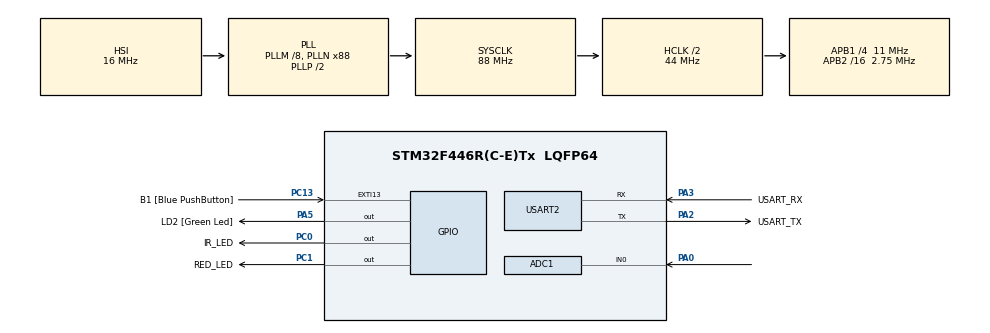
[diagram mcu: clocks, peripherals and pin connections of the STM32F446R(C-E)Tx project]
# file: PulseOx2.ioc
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ADC1.Channel-0\#ChannelRegularConversion=ADC_CHANNEL_0
ADC1.ContinuousConvMode=DISABLE
ADC1.DMAContinuousRequests=DISABLE
ADC1.ExternalTrigConv=ADC_EXTERNALTRIGCONV_T2_TRGO
ADC1.NbrOfConversion=1
ADC1.NbrOfConversionFlag=1
ADC1.Rank-0\#ChannelRegularConversion=1
ADC1.SamplingTime-0\#ChannelRegularConversion=ADC_SAMPLETIME_3CYCLES
ADC1.master=1
Mcu.Family=STM32F4
Mcu.Name=STM32F446R(C-E)Tx
Mcu.Package=LQFP64
NVIC.ADC_IRQn=true\:0\:0\:false\:false\:true\:true\:true\:true
NVIC.PriorityGroup=NVIC_PRIORITYGROUP_0
PA0-WKUP.Signal=ADCx_IN0
PA13.GPIO_Label=TMS
PA13.Mode=Serial_Wire
PA13.Signal=SYS_JTMS-SWDIO
PA14.GPIO_Label=TCK
PA14.Mode=Serial_Wire
PA14.Signal=SYS_JTCK-SWCLK
PA2.GPIO_Label=USART_TX
PA2.Mode=Asynchronous
PA2.Signal=USART2_TX
PA3.GPIO_Label=USART_RX
PA3.Mode=Asynchronous
PA3.Signal=USART2_RX
PA5.GPIO_Label=LD2 [Green Led]
PA5.Signal=GPIO_Output
PB3.GPIO_Label=SWO
PB3.Signal=SYS_JTDO-SWO
PC0.GPIO_Label=IR_LED
PC0.Signal=GPIO_Output
PC1.GPIO_Label=RED_LED
PC1.Signal=GPIO_Output
PC13.GPIO_Label=B1 [Blue PushButton]
PC13.GPIO_ModeDefaultEXTI=GPIO_MODE_IT_FALLING
PC13.Signal=GPXTI13
PC14-OSC32_IN.Mode=LSE-External-Oscillator
PC14-OSC32_IN.Signal=RCC_OSC32_IN
PC15-OSC32_OUT.Mode=LSE-External-Oscillator
PC15-OSC32_OUT.Signal=RCC_OSC32_OUT
PH0-OSC_IN.Mode=HSE-External-Oscillator
PH0-OSC_IN.Signal=RCC_OSC_IN
PH1-OSC_OUT.Mode=HSE-External-Oscillator
PH1-OSC_OUT.Signal=RCC_OSC_OUT
ProjectManager.HeapSize=0x200
ProjectManager.StackSize=0x400
ProjectManager.TargetToolchain=STM32CubeIDE
RCC.48MHZClocksFreq_Value=84000000
RCC.AHBCLKDivider=RCC_SYSCLK_DIV2
RCC.AHBFreq_Value=44000000
RCC.APB1CLKDivider=RCC_HCLK_DIV4
RCC.APB1Freq_Value=11000000
RCC.APB1TimFreq_Value=22000000
RCC.APB2CLKDivider=RCC_HCLK_DIV16
RCC.APB2Freq_Value=2750000
RCC.APB2TimFreq_Value=5500000
RCC.CortexFreq_Value=44000000
RCC.FLatency-AdvancedSettings=FLASH_LATENCY_1
RCC.HCLKFreq_Value=44000000
RCC.HSE_VALUE=8000000
RCC.HSI_VALUE=16000000
RCC.PLLM=8
RCC.PLLN=88
RCC.SYSCLKFreq_VALUE=88000000
RCC.SYSCLKSource=RCC_SYSCLKSOURCE_PLLCLK
RCC.USBFreq_Value=88000000
RCC.VCOOutputFreq_Value=176000000
SH.ADCx_IN0.0=ADC1_IN0,IN0
STMicroelectronics.X-CUBE-ALGOBUILD.1.4.0.LibraryCcDSPOoLibraryJjDSPOoLibrary=true
TIM2.AutoReloadPreload=TIM_AUTORELOAD_PRELOAD_DISABLE
TIM2.Period=42967
TIM2.TIM_MasterOutputTrigger=TIM_TRGO_UPDATE
USART2.VirtualMode=VM_ASYNC
VP_STMicroelectronics.X-CUBE-ALGOBUILD_VS_DSPOoLibraryJjLibrary_1.4.0_1.4.0.Mode=DSPOoLibraryJjLibrary
VP_TIM1_VS_ClockSourceINT.Mode=Internal
VP_TIM2_VS_ClockSourceINT.Mode=Internal
board=NUCLEO-F446RE

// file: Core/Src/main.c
/* USER CODE BEGIN Header */
/**
 ******************************************************************************
 * @file           : main.c
 * @brief          : Main program body
 ******************************************************************************
 * @attention
 *
 * Copyright (c) 2024 STMicroelectronics.
 * All rights reserved.
 *
 * This software is licensed under terms that can be found in the LICENSE file
 * in the root directory of this software component.
 * If no LICENSE file comes with this software, it is provided AS-IS.
 *
 ******************************************************************************
 */
/* USER CODE END Header */
#include "main.h"

/* USER CODE BEGIN Includes */
#include <string.h>
#include <stdio.h>
#include <stdlib.h>
#define true 1
#define false 0
#define ARM_MATH_CM4
#include "arm_math.h"
/* USER CODE END Includes */

/* USER CODE BEGIN PD */
#define SAMPLE_RATE 256 //Hz
#define ADC_BUF_LEN 2048
#define sampleForSNR 2000

/* USER CODE END PD */

ADC_HandleTypeDef hadc1;

TIM_HandleTypeDef htim1;
TIM_HandleTypeDef htim2;

UART_HandleTypeDef huart2;

/* USER CODE BEGIN PV */
uint16_t pulse = 0; //lowest part of crest
float bloodOx = 0;
char pulseBuf[10];
//EMA Filter Setup
//0.08 without analog RC LP filter
//0.06 with analog rc lp filter
float alpha = 0.06f;
float prev_RedVal = 0.0;
float prev_IRVal = 0.0;

struct timeValue
{
	uint32_t value;
	uint32_t timestamp;
};
struct timeValue lastRead, lastLastRead;

uint32_t lastPeak = 0;
struct timeValue redMax, redMin;
struct timeValue irMax, irMin;
uint32_t tick;
int peakRange = 50;
int RedLEDActive = true;
int counter = 0;

uint64_t signal[sampleForSNR] = {0};
uint16_t AdcVal = 0;
int isPeak = false;
/* USER CODE END PV */

void SystemClock_Config(void);
static void MX_GPIO_Init(void);
static void MX_USART2_UART_Init(void);
static void MX_ADC1_Init(void);
static void MX_TIM1_Init(void);
static void MX_TIM2_Init(void);
/* USER CODE BEGIN PFP */
//void pulseCalc(uint32_t curVal, uint32_t tick);
void transmitData();
void updateMaxMin(struct timeValue *max, struct timeValue *min, float prev_val);
void peakFinder();
void calculateBloodOx();
float ratioToBloodOx(float ratio);
float32_t map(float32_t prev_val, int inMax, int inMin, int outMax, int outMin);
int subtractArray(int start, int subtractVal, int size);
void ProcessSignalToNoise();
/* USER CODE END PFP */

int main(void)
{

  /* MCU Configuration--------------------------------------------------------*/

  /* Reset of all peripherals, Initializes the Flash interface and the Systick. */
  HAL_Init();

  /* Configure the system clock */
  SystemClock_Config();

  /* Initialize all configured peripherals */
  MX_GPIO_Init();
  MX_USART2_UART_Init();
  MX_ADC1_Init();
  MX_TIM1_Init();
  MX_TIM2_Init();
  /* USER CODE BEGIN 2 */
  HAL_TIM_Base_Start(&htim2); // Start Timer3 (Trigger Source For ADC1)
  HAL_ADC_Start_IT(&hadc1); // Start ADC Conversion
  HAL_GPIO_WritePin(GPIOC, RED_LED_Pin, GPIO_PIN_SET);
  HAL_GPIO_WritePin(GPIOC, IR_LED_Pin, GPIO_PIN_RESET);
//  HAL_TIM_Base_Start_IT(&htim3);
//  __HAL_TIM_ENABLE_IT(&htim3, TIM_IT_UPDATE);

  /* USER CODE END 2 */

  /* Infinite loop */
  /* USER CODE BEGIN WHILE */
//  int delayTime = 17;
//  	int delayTime = 250;
	HAL_GPIO_WritePin(GPIOC, RED_LED_Pin, GPIO_PIN_SET);
	HAL_GPIO_WritePin(GPIOC, IR_LED_Pin, GPIO_PIN_RESET);
 while (1)
 {

    /* USER CODE END WHILE */

 }
}

void SystemClock_Config(void)
{
  RCC_OscInitTypeDef RCC_OscInitStruct = {0};
  RCC_ClkInitTypeDef RCC_ClkInitStruct = {0};

  /** Configure the main internal regulator output voltage
  */
  __HAL_RCC_PWR_CLK_ENABLE();
  __HAL_PWR_VOLTAGESCALING_CONFIG(PWR_REGULATOR_VOLTAGE_SCALE3);

  /** Initializes the RCC Oscillators according to the specified parameters
  * in the RCC_OscInitTypeDef structure.
  */
  RCC_OscInitStruct.OscillatorType = RCC_OSCILLATORTYPE_HSI;
  RCC_OscInitStruct.HSIState = RCC_HSI_ON;
  RCC_OscInitStruct.HSICalibrationValue = RCC_HSICALIBRATION_DEFAULT;
  RCC_OscInitStruct.PLL.PLLState = RCC_PLL_ON;
  RCC_OscInitStruct.PLL.PLLSource = RCC_PLLSOURCE_HSI;
  RCC_OscInitStruct.PLL.PLLM = 8;
  RCC_OscInitStruct.PLL.PLLN = 88;
  RCC_OscInitStruct.PLL.PLLP = RCC_PLLP_DIV2;
  RCC_OscInitStruct.PLL.PLLQ = 2;
  RCC_OscInitStruct.PLL.PLLR = 2;
  if (HAL_RCC_OscConfig(&RCC_OscInitStruct) != HAL_OK)
  {
    Error_Handler();
  }

  /** Initializes the CPU, AHB and APB buses clocks
  */
  RCC_ClkInitStruct.ClockType = RCC_CLOCKTYPE_HCLK|RCC_CLOCKTYPE_SYSCLK
                              |RCC_CLOCKTYPE_PCLK1|RCC_CLOCKTYPE_PCLK2;
  RCC_ClkInitStruct.SYSCLKSource = RCC_SYSCLKSOURCE_PLLCLK;
  RCC_ClkInitStruct.AHBCLKDivider = RCC_SYSCLK_DIV2;
  RCC_ClkInitStruct.APB1CLKDivider = RCC_HCLK_DIV4;
  RCC_ClkInitStruct.APB2CLKDivider = RCC_HCLK_DIV16;

  if (HAL_RCC_ClockConfig(&RCC_ClkInitStruct, FLASH_LATENCY_1) != HAL_OK)
  {
    Error_Handler();
  }
}

static void MX_ADC1_Init(void)
{

  ADC_ChannelConfTypeDef sConfig = {0};

  /** Configure the global features of the ADC (Clock, Resolution, Data Alignment and number of conversion)
  */
  hadc1.Instance = ADC1;
  hadc1.Init.ClockPrescaler = ADC_CLOCK_SYNC_PCLK_DIV2;
  hadc1.Init.Resolution = ADC_RESOLUTION_12B;
  hadc1.Init.ScanConvMode = DISABLE;
  hadc1.Init.ContinuousConvMode = DISABLE;
  hadc1.Init.DiscontinuousConvMode = DISABLE;
  hadc1.Init.ExternalTrigConvEdge = ADC_EXTERNALTRIGCONVEDGE_RISING;
  hadc1.Init.ExternalTrigConv = ADC_EXTERNALTRIGCONV_T2_TRGO;
  hadc1.Init.DataAlign = ADC_DATAALIGN_RIGHT;
  hadc1.Init.NbrOfConversion = 1;
  hadc1.Init.DMAContinuousRequests = DISABLE;
  hadc1.Init.EOCSelection = ADC_EOC_SINGLE_CONV;
  if (HAL_ADC_Init(&hadc1) != HAL_OK)
  {
    Error_Handler();
  }

  /** Configure for the selected ADC regular channel its corresponding rank in the sequencer and its sample time.
  */
  sConfig.Channel = ADC_CHANNEL_0;
  sConfig.Rank = 1;
  sConfig.SamplingTime = ADC_SAMPLETIME_3CYCLES;
  if (HAL_ADC_ConfigChannel(&hadc1, &sConfig) != HAL_OK)
  {
    Error_Handler();
  }

}

static void MX_TIM1_Init(void)
{

  TIM_ClockConfigTypeDef sClockSourceConfig = {0};
  TIM_MasterConfigTypeDef sMasterConfig = {0};

  htim1.Instance = TIM1;
  htim1.Init.Prescaler = 0;
  htim1.Init.CounterMode = TIM_COUNTERMODE_UP;
  htim1.Init.Period = 65535;
  htim1.Init.ClockDivision = TIM_CLOCKDIVISION_DIV1;
  htim1.Init.RepetitionCounter = 0;
  htim1.Init.AutoReloadPreload = TIM_AUTORELOAD_PRELOAD_DISABLE;
  if (HAL_TIM_Base_Init(&htim1) != HAL_OK)
  {
    Error_Handler();
  }
  sClockSourceConfig.ClockSource = TIM_CLOCKSOURCE_INTERNAL;
  if (HAL_TIM_ConfigClockSource(&htim1, &sClockSourceConfig) != HAL_OK)
  {
    Error_Handler();
  }
  sMasterConfig.MasterOutputTrigger = TIM_TRGO_RESET;
  sMasterConfig.MasterSlaveMode = TIM_MASTERSLAVEMODE_DISABLE;
  if (HAL_TIMEx_MasterConfigSynchronization(&htim1, &sMasterConfig) != HAL_OK)
  {
    Error_Handler();
  }

}

static void MX_TIM2_Init(void)
{

  TIM_ClockConfigTypeDef sClockSourceConfig = {0};
  TIM_MasterConfigTypeDef sMasterConfig = {0};

  htim2.Instance = TIM2;
  htim2.Init.Prescaler = 0;
  htim2.Init.CounterMode = TIM_COUNTERMODE_UP;
  htim2.Init.Period = 42967;
  htim2.Init.ClockDivision = TIM_CLOCKDIVISION_DIV1;
  htim2.Init.AutoReloadPreload = TIM_AUTORELOAD_PRELOAD_DISABLE;
  if (HAL_TIM_Base_Init(&htim2) != HAL_OK)
  {
    Error_Handler();
  }
  sClockSourceConfig.ClockSource = TIM_CLOCKSOURCE_INTERNAL;
  if (HAL_TIM_ConfigClockSource(&htim2, &sClockSourceConfig) != HAL_OK)
  {
    Error_Handler();
  }
  sMasterConfig.MasterOutputTrigger = TIM_TRGO_UPDATE;
  sMasterConfig.MasterSlaveMode = TIM_MASTERSLAVEMODE_DISABLE;
  if (HAL_TIMEx_MasterConfigSynchronization(&htim2, &sMasterConfig) != HAL_OK)
  {
    Error_Handler();
  }

}

static void MX_USART2_UART_Init(void)
{

  huart2.Instance = USART2;
  huart2.Init.BaudRate = 115200;
  huart2.Init.WordLength = UART_WORDLENGTH_8B;
  huart2.Init.StopBits = UART_STOPBITS_1;
  huart2.Init.Parity = UART_PARITY_NONE;
  huart2.Init.Mode = UART_MODE_TX_RX;
  huart2.Init.HwFlowCtl = UART_HWCONTROL_NONE;
  huart2.Init.OverSampling = UART_OVERSAMPLING_16;
  if (HAL_UART_Init(&huart2) != HAL_OK)
  {
    Error_Handler();
  }

}

static void MX_GPIO_Init(void)
{
  GPIO_InitTypeDef GPIO_InitStruct = {0};

  /* GPIO Ports Clock Enable */
  __HAL_RCC_GPIOC_CLK_ENABLE();
  __HAL_RCC_GPIOH_CLK_ENABLE();
  __HAL_RCC_GPIOA_CLK_ENABLE();
  __HAL_RCC_GPIOB_CLK_ENABLE();

  /*Configure GPIO pin Output Level */
  HAL_GPIO_WritePin(GPIOC, IR_LED_Pin|RED_LED_Pin, GPIO_PIN_RESET);

  /*Configure GPIO pin Output Level */
  HAL_GPIO_WritePin(LD2_GPIO_Port, LD2_Pin, GPIO_PIN_RESET);

  /*Configure GPIO pin : B1_Pin */
  GPIO_InitStruct.Pin = B1_Pin;
  GPIO_InitStruct.Mode = GPIO_MODE_IT_FALLING;
  GPIO_InitStruct.Pull = GPIO_NOPULL;
  HAL_GPIO_Init(B1_GPIO_Port, &GPIO_InitStruct);

  /*Configure GPIO pins : IR_LED_Pin RED_LED_Pin */
  GPIO_InitStruct.Pin = IR_LED_Pin|RED_LED_Pin;
  GPIO_InitStruct.Mode = GPIO_MODE_OUTPUT_PP;
  GPIO_InitStruct.Pull = GPIO_NOPULL;
  GPIO_InitStruct.Speed = GPIO_SPEED_FREQ_LOW;
  HAL_GPIO_Init(GPIOC, &GPIO_InitStruct);

  /*Configure GPIO pin : LD2_Pin */
  GPIO_InitStruct.Pin = LD2_Pin;
  GPIO_InitStruct.Mode = GPIO_MODE_OUTPUT_PP;
  GPIO_InitStruct.Pull = GPIO_NOPULL;
  GPIO_InitStruct.Speed = GPIO_SPEED_FREQ_LOW;
  HAL_GPIO_Init(LD2_GPIO_Port, &GPIO_InitStruct);

}

/* USER CODE BEGIN 4 */
void HAL_ADC_ConvCpltCallback(ADC_HandleTypeDef *hadc)
{
	tick = HAL_GetTick();
	AdcVal = HAL_ADC_GetValue(&hadc1) * 1;
	alpha = 0.06;
	//EMA Filter
	prev_RedVal = alpha * (float32_t)AdcVal + (1.0f-alpha) * prev_RedVal; //filtered
	updateMaxMin(&redMax, &redMin, prev_RedVal);
	peakFinder();
	transmitData();

	//SNR calculations
//	if (counter < 1000) counter++;
//	else if (counter >= 1000 && counter < 1000 + sampleForSNR)
//	{
////		signal[counter - 1000] = prev_RedVal;
//				signal[counter - 1000] = AdcVal;
//
//		counter++;
//		transmitData();
//	} else ProcessSignalToNoise();

}
void ProcessSignalToNoise()
{
	float sum_signal = 0;
	for (int i = 0; i < sampleForSNR; i++)
	{
		sum_signal += signal[i];
	}
	float average = sum_signal / (float)sampleForSNR;
	float power = 0;
	//subtract mean aka dc offset aka average
	//determine RMS
	for (int j = 0; j < sampleForSNR; j++)
	{
		power += (signal[j] - average) * (signal[j] - average);
	}
	power /= (float)sampleForSNR;
	//transmit power
	char buffer[10];
	snprintf(buffer, sizeof(buffer), "%u\r\n", (int)power);
	HAL_UART_Transmit(&huart2, (uint8_t*)buffer, strlen(buffer), HAL_MAX_DELAY);
	while (1)
	{
		//stop indefinitely
	}
}
/**************************************************************
 * Function: updateMaxMin(struct timeValue max, struct timeValue min, float prev_val)
 * Inputs: Max, Min, Current Value
 * Outputs: None
 * Update min/max for Red and IR readings in the last 4 seconds
 **************************************************************/
void updateMaxMin(struct timeValue *max, struct timeValue *min, float prev_val)
{
	if (prev_val > max->value || tick > max->timestamp + 1000 * 4) {max->value = prev_val; max->timestamp = tick;}
	else if (prev_val < min->value || tick > min->timestamp + 1000 * 4) {min->value = prev_val; min->timestamp = tick;}
	if (max->value - min->value > (redMax.value - redMin.value - 1) && tick > 10)
	{
		//update threshhold window
		if (max->timestamp > min->timestamp)
		{
			min->value = max->value - (redMax.value - redMin.value - 1);
			min->timestamp = max->timestamp - 1;
		}
		else
		{
			max->value = min->value + (redMax.value - redMin.value - 1);
			max->timestamp = min->timestamp - 1;
		}
	}
}

/**************************************************************
 * Function: peakFinder()
 * Inputs/Outputs: None
 * Find peak if Red LED value is within 8 arbitrary units of min
 * 0.5 seconds between peaks at minimum, and value needs to be gte
 * 	than surrounding ones
 **************************************************************/
void peakFinder()
{
	if (lastRead.value > redMax.value - redMin.value - 1
			&& lastRead.value >= prev_RedVal
			&& lastRead.value >= lastLastRead.value
			&& lastRead.timestamp - lastPeak > 500)
	{
		//is peak
		HAL_GPIO_TogglePin(GPIOA, LD2_Pin);
		pulse = (60.0f * 1000.0f / ((float)lastRead.timestamp - (float)lastPeak));
		lastPeak = lastRead.timestamp;
		isPeak = true;
	}
	isPeak = false;
	//shift all vals back
	lastLastRead = lastRead;
	lastRead.value = prev_RedVal;
	lastRead.timestamp = tick;
}

void calculateBloodOx()
{
	float numerator = prev_RedVal / redMin.value;
	float denom = prev_IRVal / irMin.value;
	bloodOx = ratioToBloodOx(numerator / denom);
}

//apply piecewise ratio to blood ox per Beer-Lambert Law
float ratioToBloodOx(float ratio)
{
	if (ratio >= 0.4f && ratio <= 1)
		return -25.0f * ratio + 100.0;
	else
		return -32.6923f * ratio + 85;
}
/**************************************************************
 * Function: transmitData()
 * Inputs/Outputs: None
 * Transmit data in form: time, redLED, IRLED, Pulse, Blood Ox
 **************************************************************/
void transmitData()
{
	//transmit time for analysis
	char timeBuf[10];
	snprintf(timeBuf, sizeof(timeBuf), "%lu,", tick);
	HAL_UART_Transmit(&huart2, (uint8_t*)timeBuf, strlen(timeBuf), HAL_MAX_DELAY);

	//transmit red LED data
	char buffer[10];
	snprintf(buffer, sizeof(buffer), "%u,", (int)prev_RedVal);
	HAL_UART_Transmit(&huart2, (uint8_t*)buffer, strlen(buffer), HAL_MAX_DELAY);

//	//transmit original data
//	snprintf(buffer, sizeof(buffer), "%u\r\n", (int)AdcVal);
//	HAL_UART_Transmit(&huart2, (uint8_t*)buffer, strlen(buffer), HAL_MAX_DELAY);
//
//	//transmit IR LED data
//	snprintf(buffer, sizeof(buffer), "%u,", (int)prev_IRVal);
//	HAL_UART_Transmit(&huart2, (uint8_t*)buffer, strlen(buffer), HAL_MAX_DELAY);
//
	//pulse
	snprintf(pulseBuf, sizeof(pulseBuf), "%u,", pulse);
	HAL_UART_Transmit(&huart2, (uint8_t*)pulseBuf, strlen(pulseBuf), HAL_MAX_DELAY);

	snprintf(buffer, sizeof(buffer), "%u\r\n", isPeak);
	HAL_UART_Transmit(&huart2, (uint8_t*)buffer, strlen(buffer), HAL_MAX_DELAY);
//
//	//transmit Blood Ox data
//	snprintf(buffer, sizeof(buffer), "%u\r\n", (int)bloodOx);
//	HAL_UART_Transmit(&huart2, (uint8_t*)buffer, strlen(buffer), HAL_MAX_DELAY);
}
float32_t map(float32_t prev_val, int inMax, int inMin, int outMax, int outMin)
{
	return (prev_val - (float)inMin) * ((outMax-outMin) / (inMax - inMin)) + outMin;
}
int subtractArray(int start, int subtractVal, int size)
{
	return (start - subtractVal >= 0) ? start - subtractVal : size + start - subtractVal;
}
/* USER CODE END 4 */

void Error_Handler(void)
{
 __disable_irq();
 while (1)
 {
 }
}
